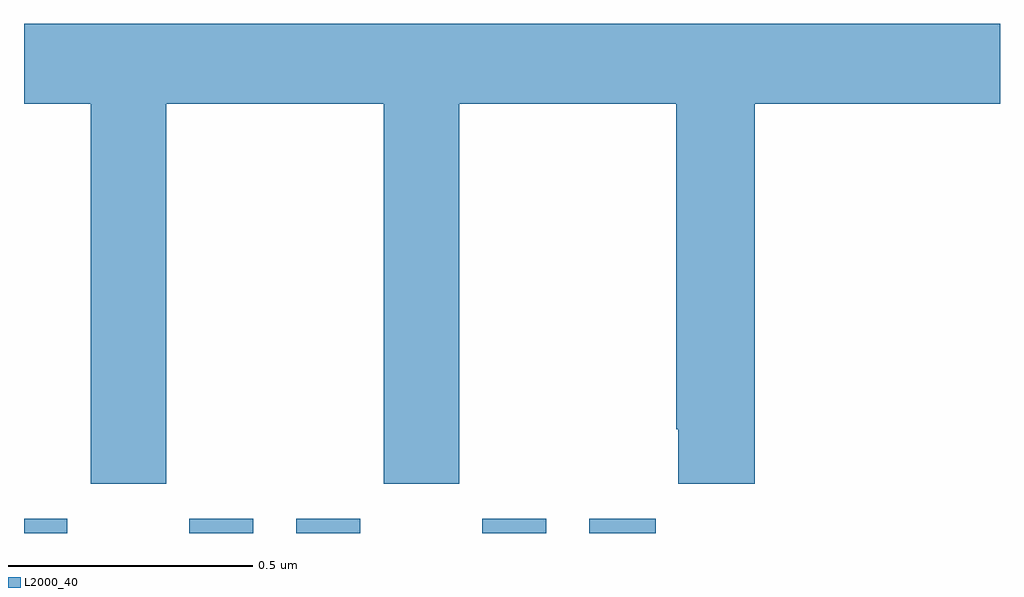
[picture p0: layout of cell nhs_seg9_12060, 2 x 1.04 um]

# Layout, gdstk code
import gdstk
lib = gdstk.Library(unit=1e-6, precision=1e-09)
def R(c, l, rs):  # rectangles x0, y0, x1, y1
    for r in rs: c.add(gdstk.rectangle(r[:2], r[2:], *l))
def P(c, l, *ps):  # polygons
    for p in ps: c.add(gdstk.Polygon(p, *l))
L2000_40 = (2000, 40)

nhs_seg9_12060 = lib.new_cell('nhs_seg9_12060')
R(nhs_seg9_12060, L2000_40, [(263,1235.5,263.089,1235.53), (263.339,1235.5,263.47,1235.53), (263.558,1235.5,263.689,1235.53), (263.939,1235.5,264.07,1235.53), (264.158,1235.5,264.295,1235.53)])
P(nhs_seg9_12060, L2000_40, [(263.292,1236.38),(263.737,1236.38),(263.737,1235.601),(263.892,1235.601),(263.892,1236.38),(264.337,1236.38),(264.337,1235.713),(264.341,1235.713),(264.341,1235.601),(264.497,1235.601),(264.497,1236.38),(265,1236.38),(265,1236.544),(263,1236.544),(263,1236.38),(263.137,1236.38),(263.137,1235.601),(263.292,1235.601)])

lib.write_gds('nhs_seg9_12060.gds')
